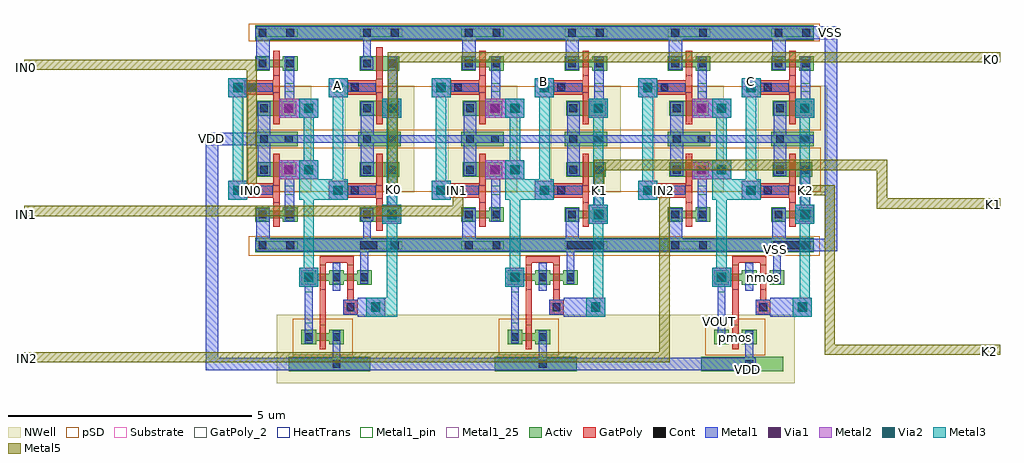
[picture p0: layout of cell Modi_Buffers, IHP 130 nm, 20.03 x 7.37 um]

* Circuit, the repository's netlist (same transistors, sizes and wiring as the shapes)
** sch_path: /home/designer/shared/Training/GROTDC/GROTDC_marzo/GRO-TDC/Modi_Buffers.sch
.subckt Modi_Buffers K0 IN0 VDD IN1 VSS K1 K2 IN2
*.PININFO IN0:I IN1:I IN2:I K0:O K1:O K2:O VDD:B VSS:B
x1[1] VDD net1 IN0 VSS INV_D1
x1[0] VDD net1 IN0 VSS INV_D1
x2[1] VDD K0 net1 VSS INV_D2
x2[0] VDD K0 net1 VSS INV_D2
x3 VDD net1 K0 VSS INV05
x3[1] VDD net2 IN1 VSS INV_D1
x3[0] VDD net2 IN1 VSS INV_D1
x4[1] VDD net3 IN2 VSS INV_D1
x4[0] VDD net3 IN2 VSS INV_D1
x5[1] VDD K1 net2 VSS INV_D1
x5[0] VDD K1 net2 VSS INV_D1
x6[1] VDD K2 net3 VSS INV_D1
x6[0] VDD K2 net3 VSS INV_D1
x1 VDD net2 K1 VSS INV05
x2 VDD net3 K2 VSS INV05
.ends

* expanding   symbol:  /home/designer/shared/Training/GROTDC/GROTDC_marzo/GRO-TDC/std_cells/INV_D1.sym # of pins=4
** sym_path: /home/designer/shared/Training/GROTDC/GROTDC_marzo/GRO-TDC/std_cells/INV_D1.sym
** sch_path: /home/designer/shared/Training/GROTDC/GROTDC_marzo/GRO-TDC/std_cells/INV_D1.sch
.subckt INV_D1 VDD VOUT VIN VSS
*.PININFO VDD:B VSS:B VOUT:O VIN:I
M2 VOUT VIN VDD VDD sg13_lv_pmos w=0.3u l=0.13u ng=1 m=1
M1 VOUT VIN VSS VSS sg13_lv_nmos w=0.15u l=0.13u ng=1 m=1
.ends


* expanding   symbol:  /home/designer/shared/Training/GROTDC/GROTDC_marzo/GRO-TDC/std_cells/INV_D2.sym # of pins=4
** sym_path: /home/designer/shared/Training/GROTDC/GROTDC_marzo/GRO-TDC/std_cells/INV_D2.sym
** sch_path: /home/designer/shared/Training/GROTDC/GROTDC_marzo/GRO-TDC/std_cells/INV_D2.sch
.subckt INV_D2 VDD VOUT VIN VSS
*.PININFO VDD:B VSS:B VOUT:O VIN:I
M1 VOUT VIN VSS VSS sg13_lv_nmos w=0.3u l=0.13u ng=1 m=1
M2 VOUT VIN VDD VDD sg13_lv_pmos w=0.3u l=0.13u ng=1 m=1
.ends


* expanding   symbol:  /home/designer/shared/Training/GROTDC/GROTDC_marzo/GRO-TDC/std_cells/INV05.sym # of pins=4
** sym_path: /home/designer/shared/Training/GROTDC/GROTDC_marzo/GRO-TDC/std_cells/INV05.sym
** sch_path: /home/designer/shared/Training/GROTDC/GROTDC_marzo/GRO-TDC/std_cells/INV05.sch
.subckt INV05 VDD VOUT VIN VSS
*.PININFO VDD:B VSS:B VOUT:O VIN:I
M1 net1 VIN VSS VSS sg13_lv_nmos w=0.15u l=0.13u ng=1 m=1
M3 VOUT VIN VDD VDD sg13_lv_pmos w=0.15u l=0.13u ng=1 m=1
M2 VOUT VIN net1 VSS sg13_lv_nmos w=0.15u l=0.13u ng=1 m=1
.ends

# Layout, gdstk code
from math import pi, radians
import gdstk
lib = gdstk.Library(unit=1e-6, precision=5e-09)
def R(c, l, rs):  # rectangles x0, y0, x1, y1
    for r in rs: c.add(gdstk.rectangle(r[:2], r[2:], *l))
def A(c, l, x, y, w, h, nx, ny, dx, dy):  # array of equal rectangles
    R(c, l, [(x+i*dx, y+j*dy, x+i*dx+w, y+j*dy+h) for i in range(nx) for j in range(ny)])
Activ = (1, 0)
GatPoly = (5, 0)
GatPoly_2 = (5, 2)
Cont = (6, 0)
Metal1 = (8, 0)
Metal1_pin = (8, 2)
Metal1_25 = (8, 25)
Metal2 = (10, 0)
pSD = (14, 0)
Via1 = (19, 0)
Via2 = (29, 0)
Metal3 = (30, 0)
NWell = (31, 0)
Substrate = (40, 0)
HeatTrans = (51, 0)
Metal5 = (67, 0)

via2_constraint = lib.new_cell('VIA2_constraint')
R(via2_constraint, Metal2, [(-0.095,-0.095,0.295,0.295)])
R(via2_constraint, Via2, [(0.005,0.005,0.195,0.195)])
R(via2_constraint, Metal3, [(-0.095,-0.095,0.295,0.295)])

via1_constraint = lib.new_cell('VIA1_constraint')
R(via1_constraint, Metal1, [(0,0,0.39,0.39)])
R(via1_constraint, Metal2, [(0,0,0.39,0.39)])
R(via1_constraint, Via1, [(0.1,0.1,0.29,0.29)])

pmos_1 = lib.new_cell('pmos$1')
R(pmos_1, Activ, [(0,0,0.3,0.3), (0,0,0.81,0.3), (0.51,0,0.81,0.3)])
R(pmos_1, GatPoly, [(0.34,-0.18,0.47,0.48), (0.34,-0.18,0.47,0.48)])
R(pmos_1, Cont, [(0.07,0.07,0.23,0.23), (0.58,0.07,0.74,0.23)])
R(pmos_1, Metal1, [(0.58,0,0.74,0.3), (0.58,0,0.74,0.3), (0.02,0.02,0.28,0.3), (0.07,0.07,0.23,0.3)])
R(pmos_1, pSD, [(-0.18,-0.3,0.99,0.6)])
R(pmos_1, NWell, [(-0.31,-0.31,1.12,0.61)])
R(pmos_1, Substrate, [(0.51,0,0.81,0.3)])
R(pmos_1, HeatTrans, [(0.34,-0.18,0.47,0.48)])
pmos_1.add(gdstk.Label('pmos', (0.405,0.15), layer=63, texttype=0))
pmos_1.add(gdstk.Label('pmos', (0.405,0.15), layer=51, texttype=0))

nmos_1 = lib.new_cell('nmos$1')
R(nmos_1, Activ, [(0,0,0.3,0.3), (0.57,0,0.87,0.3), (0,0.075,0.87,0.225)])
R(nmos_1, GatPoly, [(0.37,-0.105,0.5,0.405)])
R(nmos_1, GatPoly_2, [(0.37,-0.105,0.5,0.405)])
R(nmos_1, Cont, [(0.07,0.07,0.23,0.23), (0.64,0.07,0.8,0.23)])
R(nmos_1, Metal1, [(0.07,0.02,0.23,0.225), (0.64,0.02,0.8,0.28)])
R(nmos_1, Metal1_pin, [(0.07,0.02,0.23,0.23), (0.64,0.02,0.8,0.28)])
R(nmos_1, HeatTrans, [(0.37,-0.105,0.5,0.405)])
nmos_1.add(gdstk.Label('nmos', (0.435,0.15), layer=63, texttype=0))
nmos_1.add(gdstk.Label('nmos', (0.435,0.15), layer=51, texttype=0))

inv_d1 = lib.new_cell('INV_D1')
R(inv_d1, Activ, [(0.28,-0.045,1.15,0.255), (0.28,2.135,1.15,2.435)])
R(inv_d1, GatPoly, [(0.06,1.08,0.65,1.38), (0.65,1.11,0.78,1.325)])
R(inv_d1, GatPoly_2, [(0.06,1.08,0.65,1.38)])
R(inv_d1, Cont, [(0.35,0.025,0.51,0.185), (0.92,0.025,1.08,0.185), (0.13,1.15,0.29,1.31), (0.38,2.205,0.54,2.365), (0.89,2.205,1.05,2.365)])
R(inv_d1, Metal1, [(0.3,-0.025,0.575,0.025), (0.28,0.025,1.15,0.185), (0.3,0.025,0.575,0.865), (0.07,1.14,0.64,1.32), (0.33,1.575,0.59,2.365), (0.28,2.205,1.15,2.365), (0.33,2.365,0.59,2.415)])
R(inv_d1, Metal1_pin, [(0.28,0.025,1.15,0.185), (0.07,1.14,0.64,1.32), (0.89,1.14,1.08,1.32), (0.28,2.205,1.15,2.365)])
R(inv_d1, pSD, [(0.15,-0.075,1.28,0.285)])
R(inv_d1, NWell, [(0,2.115,1.43,2.675)])
R(inv_d1, Substrate, [(0.82,1.505,1.12,1.805)])
inv_d1.add(gdstk.FlexPath([(0.985,0.585),(0.985,1.805)], 0.19, ends="flush", simple_path=True, layer=8, datatype=0))  # Metal1
inv_d1.add(gdstk.FlexPath([(0.715,1.11),(0.715,0.99)], 0.13, ends="flush", simple_path=True, layer=5, datatype=0))  # GatPoly
inv_d1.add(gdstk.Reference(pmos_1, (0.31,1.505)))
inv_d1.add(gdstk.Reference(nmos_1, (0.28,0.585)))
inv_d1.add(gdstk.Label('nmos', (0.715,0.655), layer=63, texttype=0))
inv_d1.add(gdstk.Label('VSS', (0.65,0.1), layer=8, texttype=25))
inv_d1.add(gdstk.Label('VIN', (0.285,1.175), layer=8, texttype=25))
inv_d1.add(gdstk.Label('VOUT', (1.03,1.165), layer=8, texttype=25))
inv_d1.add(gdstk.Label('VDD', (0.655,2.28), layer=8, texttype=25))

pmos = lib.new_cell('pmos')
R(pmos, Activ, [(0,0,0.3,0.3), (0.57,0,0.87,0.3), (0,0.075,0.87,0.225)])
R(pmos, GatPoly, [(0.37,-0.105,0.5,0.405), (0.37,-0.105,0.5,0.405)])
R(pmos, Cont, [(0.07,0.07,0.23,0.23), (0.64,0.07,0.8,0.23)])
R(pmos, Metal1, [(0.07,0.02,0.23,0.28), (0.07,0.02,0.23,0.28), (0.64,0.02,0.8,0.28), (0.64,0.02,0.8,0.28)])
R(pmos, pSD, [(-0.18,-0.225,1.05,0.525)])
R(pmos, NWell, [(-0.31,-0.31,1.18,0.61)])
R(pmos, Substrate, [(0.57,0,0.87,0.3)])
R(pmos, HeatTrans, [(0.37,-0.105,0.5,0.405)])
pmos.add(gdstk.Label('pmos', (0.435,0.15), layer=63, texttype=0))
pmos.add(gdstk.Label('pmos', (0.435,0.15), layer=51, texttype=0))

nmos = lib.new_cell('nmos')
R(nmos, Activ, [(0,0,0.3,0.3), (0.57,0,0.87,0.3), (0,0.075,0.87,0.225)])
R(nmos, GatPoly, [(0.37,-0.105,0.5,0.405)])
R(nmos, GatPoly_2, [(0.37,-0.105,0.5,0.405)])
R(nmos, Cont, [(0.07,0.07,0.23,0.23), (0.64,0.07,0.8,0.23)])
R(nmos, Metal1, [(0.07,0.02,0.23,0.28), (0.64,0.02,0.8,0.28)])
R(nmos, Metal1_pin, [(0.07,0.02,0.23,0.28), (0.64,0.02,0.8,0.28)])
R(nmos, HeatTrans, [(0.37,-0.105,0.5,0.405)])
nmos.add(gdstk.Label('nmos', (0.435,0.15), layer=63, texttype=0))
nmos.add(gdstk.Label('nmos', (0.435,0.15), layer=51, texttype=0))

inv05 = lib.new_cell('INV05')
R(inv05, Activ, [(-0.47,-1.89,1.21,-1.59), (-0.435,0.55,1.245,0.85)])
R(inv05, GatPoly, [(-0.175,-0.615,0.125,-0.315)])
R(inv05, GatPoly_2, [(-0.09,-0.945,0.04,-0.825)])
R(inv05, Cont, [(-0.39,-1.82,-0.23,-1.66), (-0.105,-0.545,0.055,-0.385), (0.18,0.62,0.34,0.78)])
R(inv05, Metal1, [(-0.44,-1.87,-0.18,-1.61), (0.18,-1.375,0.34,-0.805), (-0.175,-0.615,0.125,-0.315), (0.13,0.57,0.39,0.83)])
R(inv05, Metal1_pin, [(-0.39,-1.82,-0.23,-1.66), (0.75,-0.78,0.91,-0.14), (0.18,0.62,0.34,0.78)])
R(inv05, pSD, [(-0.53,-1.92,1.285,-1.52)])
R(inv05, NWell, [(-0.675,-0.315,-0.2,0.61), (1.29,-0.315,1.485,0.61), (-0.675,0.605,1.485,1.09)])
inv05.add(gdstk.FlexPath([(0.83,-0.95),(0.83,0.015)], 0.16, ends="flush", simple_path=True, layer=8, datatype=0))  # Metal1
inv05.add(gdstk.FlexPath([(-0.31,-1.82),(-0.31,-1.21)], 0.16, ends="flush", simple_path=True, layer=8, datatype=0))  # Metal1
inv05.add(gdstk.FlexPath([(0.26,0.275),(0.26,0.78)], 0.16, ends="flush", simple_path=True, layer=8, datatype=0))  # Metal1
inv05.add(gdstk.FlexPath([(-0.025,-1.335),(-0.025,-1.445),(0.545,-1.445),(0.545,-1.335)], 0.13, ends="flush", simple_path=True, layer=5, datatype=0))  # GatPoly
inv05.add(gdstk.FlexPath([(0.545,-0.825),(0.545,-0.11)], 0.13, ends="flush", simple_path=True, layer=5, datatype=0))  # GatPoly
inv05.add(gdstk.FlexPath([(-0.025,-0.825),(-0.025,-0.465)], 0.13, ends="flush", simple_path=True, layer=5, datatype=0))  # GatPoly
inv05.add(gdstk.Reference(pmos, (0.11,-0.005)))
inv05.add(gdstk.Reference(nmos, (-0.46,-1.23)))
inv05.add(gdstk.Reference(nmos, (0.11,-1.23)))
inv05.add(gdstk.Label('VDD', (0.29,0.82), layer=8, texttype=2))
inv05.add(gdstk.Label('VSS', (-0.275,-1.645), layer=8, texttype=2))
inv05.add(gdstk.Label('VOUT', (0.88,-0.17), layer=8, texttype=2))
inv05.add(gdstk.Label('VIN', (0,-0.85), layer=5, texttype=2))

pmos_2 = lib.new_cell('pmos$2')
R(pmos_2, Activ, [(0,0,0.3,0.3), (0,0,0.81,0.3), (0.51,0,0.81,0.3)])
R(pmos_2, GatPoly, [(0.34,-0.18,0.47,0.48), (0.34,-0.18,0.47,0.48)])
R(pmos_2, Cont, [(0.07,0.07,0.23,0.23), (0.58,0.07,0.74,0.23)])
R(pmos_2, Metal1, [(0.58,0,0.74,0.3), (0.58,0,0.74,0.3)])
R(pmos_2, pSD, [(-0.18,-0.3,0.99,0.6)])
R(pmos_2, NWell, [(-0.31,-0.31,1.12,0.61)])
R(pmos_2, Substrate, [(0.51,0,0.81,0.3)])
R(pmos_2, HeatTrans, [(0.34,-0.18,0.47,0.48)])
pmos_2.add(gdstk.Label('pmos', (0.405,0.15), layer=63, texttype=0))
pmos_2.add(gdstk.Label('pmos', (0.405,0.15), layer=51, texttype=0))

nmos_2 = lib.new_cell('nmos$2')
R(nmos_2, Activ, [(0,0,0.3,0.3), (0,0,0.81,0.3), (0.51,0,0.81,0.3)])
R(nmos_2, GatPoly, [(0.34,-0.18,0.47,0.48)])
R(nmos_2, GatPoly_2, [(0.34,-0.18,0.47,0.48)])
R(nmos_2, Cont, [(0.07,0.07,0.23,0.23), (0.58,0.07,0.74,0.23)])
R(nmos_2, Metal1, [(0.58,0,0.74,0.3)])
R(nmos_2, Metal1_pin, [(0.58,0,0.74,0.3)])
R(nmos_2, HeatTrans, [(0.34,-0.18,0.47,0.48)])
nmos_2.add(gdstk.Label('nmos', (0.405,0.15), layer=63, texttype=0))
nmos_2.add(gdstk.Label('nmos', (0.405,0.15), layer=51, texttype=0))

inv_d1_1 = lib.new_cell('INV_D1$1')
R(inv_d1_1, Activ, [(0.31,-0.045,1.18,0.255), (0.28,2.135,1.15,2.435)])
R(inv_d1_1, GatPoly, [(0.06,1.08,0.65,1.38), (0.65,1.11,0.78,1.325)])
R(inv_d1_1, GatPoly_2, [(0.06,1.08,0.65,1.38)])
R(inv_d1_1, Cont, [(0.38,0.025,0.54,0.185), (0.95,0.025,1.11,0.185), (0.13,1.15,0.29,1.31), (0.38,2.205,0.54,2.365), (0.89,2.205,1.05,2.365)])
R(inv_d1_1, Metal1, [(0.31,0.025,1.18,0.185), (0.07,1.14,0.64,1.32), (0.28,2.205,1.15,2.365)])
R(inv_d1_1, Metal1_pin, [(0.31,0.025,1.18,0.185), (0.07,1.14,0.64,1.32), (0.89,1.14,1.08,1.32), (0.28,2.205,1.15,2.365)])
R(inv_d1_1, pSD, [(0.18,-0.075,1.31,0.285)])
R(inv_d1_1, NWell, [(0,2.115,1.43,2.675)])
R(inv_d1_1, Substrate, [(0.82,1.505,1.12,1.805)])
inv_d1_1.add(gdstk.FlexPath([(0.985,0.585),(0.985,1.805)], 0.19, ends="flush", simple_path=True, layer=8, datatype=0))  # Metal1
inv_d1_1.add(gdstk.FlexPath([(0.715,1.11),(0.715,0.99)], 0.13, ends="flush", simple_path=True, layer=5, datatype=0))  # GatPoly
inv_d1_1.add(gdstk.Reference(pmos_2, (0.31,1.505)))
inv_d1_1.add(gdstk.Reference(nmos_2, (0.31,0.585)))
inv_d1_1.add(gdstk.Label('nmos', (0.745,0.655), layer=63, texttype=0))
inv_d1_1.add(gdstk.Label('VSS', (0.68,0.1), layer=8, texttype=25))
inv_d1_1.add(gdstk.Label('VIN', (0.285,1.175), layer=8, texttype=25))
inv_d1_1.add(gdstk.Label('VOUT', (1.03,1.165), layer=8, texttype=25))
inv_d1_1.add(gdstk.Label('VDD', (0.655,2.28), layer=8, texttype=25))

inv_d2 = lib.new_cell('INV_D2')
R(inv_d2, Metal1, [(10.185,-0.74,10.345,0.05), (10.135,-0.16,10.395,0.1), (10.135,0.76,10.4,1.6)])
inv_d2.add(gdstk.Reference(inv_d1_1, (9.805,-0.765)))

modi_buffers_placement = lib.new_cell('Modi_Buffers_placement')
R(modi_buffers_placement, Activ, [(0.28,-2.2,11.74,-1.9), (0.28,2.16,9.62,2.46)])
R(modi_buffers_placement, Metal1, [(0.35,-2.13,2.165,-1.97)])
R(modi_buffers_placement, pSD, [(0.15,-2.23,11.87,-1.87), (0.13,-0.95,11.89,-0.05), (0.13,0.31,11.89,1.21), (0.15,2.13,8.43,2.49)])
modi_buffers_placement.add(gdstk.Reference(inv_d1, (0,2.415), x_reflection=True))
modi_buffers_placement.add(gdstk.Reference(inv_d1, (0,-2.155)))
r = gdstk.Reference(inv05, (6.44,-3.79), rotation=pi); r.repetition = gdstk.Repetition(2, 1, v1=(-4.23,0), v2=(0,0)); modi_buffers_placement.add(r)
r = gdstk.Reference(inv_d1, (4.23,-2.155)); r.repetition = gdstk.Repetition(4, 1, v1=(2.12,0), v2=(0,0)); modi_buffers_placement.add(r)
r = gdstk.Reference(inv_d1, (4.23,2.415), x_reflection=True); r.repetition = gdstk.Repetition(4, 1, v1=(2.12,0), v2=(0,0)); modi_buffers_placement.add(r)
modi_buffers_placement.add(gdstk.Reference(inv_d2, (-7.69,-1.39)))
modi_buffers_placement.add(gdstk.Reference(inv_d2, (-7.69,1.65), x_reflection=True))

modi_buffers = lib.new_cell('Modi_Buffers')
R(modi_buffers, Activ, [(18.9,-0.3,20.58,0), (19.165,0.255,19.465,0.555), (19.735,0.255,20.035,0.555), (19.165,0.33,20.035,0.48), (19.165,1.48,19.465,1.78), (19.735,1.48,20.035,1.78), (19.735,1.48,20.035,1.78), (20.305,1.48,20.605,1.78), (19.165,1.555,20.035,1.705), (19.735,1.555,20.605,1.705), (18.935,2.14,20.615,2.44), (19.085,6.5,20.335,6.8)])
R(modi_buffers, GatPoly, [(19.535,0.15,19.665,0.66), (19.535,0.15,19.665,0.66), (20.02,0.865,20.32,1.165), (19.535,1.375,19.665,1.885), (20.105,1.375,20.235,1.885)])
R(modi_buffers, GatPoly_2, [(19.535,1.375,19.665,1.885), (20.105,1.375,20.235,1.885), (20.105,1.375,20.235,1.495)])
R(modi_buffers, Cont, [(19.805,-0.23,19.965,-0.07), (19.235,0.325,19.395,0.485), (19.805,0.325,19.965,0.485), (20.09,0.935,20.25,1.095), (19.235,1.55,19.395,1.71), (19.805,1.55,19.965,1.71), (19.805,1.55,19.965,1.71), (20.375,1.55,20.535,1.71), (11.905,2.21,12.245,2.37), (16.165,2.21,16.895,2.37), (20.375,2.21,20.715,2.37), (20.375,2.21,20.535,2.37), (20.405,2.21,21.135,2.37)])
R(modi_buffers, Metal1, [(8.725,-0.28,8.985,4.6), (8.725,-0.28,11.545,-0.025), (11.285,-0.28,20.015,-0.02), (19.755,-0.28,20.015,-0.02), (19.235,0.275,19.395,0.535), (19.235,0.275,19.395,0.535), (19.805,0.275,19.965,0.535), (19.805,0.275,19.965,0.535), (11.85,0.825,12.025,1.215), (16.08,0.825,16.365,1.215), (16.365,0.825,16.54,1.215), (20.32,0.825,20.605,1.215), (20.605,0.825,20.78,1.215), (20.02,0.865,20.32,1.165), (11.62,0.925,12.315,1.115), (16.135,0.925,16.83,1.115), (20.375,0.925,21.07,1.115), (19.805,1.355,19.965,1.925), (19.235,1.5,19.395,1.76), (19.805,1.5,19.965,1.76), (19.805,1.5,19.965,1.76), (20.375,1.5,20.535,1.76), (9.815,2.16,21.205,2.42), (11.905,2.16,12.245,2.42), (20.325,2.16,20.585,2.42), (20.325,2.16,21.69,2.42), (21.43,2.16,21.69,6.78), (9.28,3.325,9.755,3.505), (11.35,3.325,11.87,3.51), (13.45,3.325,13.925,3.505), (15.585,3.325,16.105,3.51), (17.69,3.325,18.165,3.505), (19.825,3.325,20.345,3.51), (10.24,3.645,11.04,4.035), (14.47,3.645,15.27,4.035), (18.71,3.645,19.51,4.035), (8.725,4.34,10.055,4.6), (9.745,4.39,21.205,4.55), (10.24,4.905,11.04,5.295), (14.47,4.905,15.27,5.295), (18.71,4.905,19.51,5.295), (9.28,5.435,9.755,5.615), (11.35,5.435,11.87,5.62), (13.45,5.435,13.925,5.615), (15.585,5.435,16.105,5.62), (17.69,5.435,18.165,5.615), (19.825,5.435,20.345,5.62), (9.765,6.52,21.135,6.78), (21.135,6.52,21.69,6.78)])
R(modi_buffers, Metal1_pin, [(19.805,-0.23,19.965,-0.07), (19.235,0.69,19.395,1.33), (19.235,1.5,19.395,1.76), (19.805,1.5,19.965,1.76), (19.805,1.5,19.965,1.76), (20.375,1.5,20.535,1.76), (20.375,2.21,20.535,2.37), (12.47,3.325,12.66,3.505), (16.705,3.325,16.895,3.505), (20.945,3.325,21.135,3.505), (9.595,3.335,9.755,3.495), (13.825,3.335,13.985,3.495), (18.065,3.335,18.225,3.495), (8.725,4.34,8.985,4.6), (21.43,6.52,21.69,6.78)])
R(modi_buffers, Metal1_25, [(12.47,3.325,12.66,3.505), (16.705,3.325,16.895,3.505), (20.945,3.325,21.135,3.505), (9.595,3.335,9.755,3.495), (13.825,3.335,13.985,3.495), (18.065,3.335,18.225,3.495), (8.725,4.34,8.985,4.6), (21.43,6.52,21.69,6.78)])
R(modi_buffers, Metal2, [(10.24,3.645,11.04,4.035), (14.47,3.645,15.27,4.035), (18.71,3.645,19.51,4.035), (10.24,4.905,11.04,5.295), (14.47,4.905,15.27,5.295), (18.71,4.905,19.51,5.295)])
R(modi_buffers, pSD, [(18.985,0.03,20.215,0.78), (9.615,2.07,10.39,2.11), (10.39,2.07,21.335,2.11), (18.86,2.07,20.675,2.47), (17.895,6.47,18.085,6.83), (19.215,6.47,20.205,6.83)])
A(modi_buffers, Metal3, 13.45, 3.32, 0.22, 2.3, 4, 1, 2.12, 0)
R(modi_buffers, Metal3, [(12.025,0.825,12.655,1.215), (16.54,0.825,16.93,1.215), (20.78,0.825,21.17,1.215), (12.445,0.925,12.655,3.015), (16.68,0.925,16.89,3.015), (20.92,0.925,21.13,3.015), (10.74,1.535,10.95,3.9), (14.97,1.535,15.18,3.9), (19.21,1.535,19.42,3.9), (12.445,2.825,12.655,5.195), (16.68,2.825,16.89,5.195), (20.92,2.825,21.13,5.195), (10.65,3.22,11.64,3.645), (14.88,3.22,15.875,3.645), (19.12,3.22,20.115,3.645), (9.28,3.32,9.5,5.62), (11.335,3.32,11.555,5.62), (10.74,3.745,10.95,5.195), (14.97,3.745,15.18,5.195), (19.21,3.745,19.42,5.195)])
R(modi_buffers, NWell, [(10.19,-0.54,20.82,0.865), (18.66,-0.54,20.82,-0.055), (18.66,-0.06,18.855,0.865), (20.345,-0.06,20.82,0.865), (18.855,-0.055,20.345,0.865)])
R(modi_buffers, Substrate, [(19.165,0.255,19.465,0.555)])
R(modi_buffers, HeatTrans, [(19.535,0.15,19.665,0.66), (19.535,1.375,19.665,1.885), (20.105,1.375,20.235,1.885)])
modi_buffers.add(gdstk.FlexPath([(19.315,1.5),(19.315,0.535)], 0.16, ends="flush", simple_path=True, layer=8, datatype=0))  # Metal1
modi_buffers.add(gdstk.FlexPath([(20.455,2.37),(20.455,1.76)], 0.16, ends="flush", simple_path=True, layer=8, datatype=0))  # Metal1
modi_buffers.add(gdstk.FlexPath([(19.885,0.275),(19.885,-0.23)], 0.16, ends="flush", simple_path=True, layer=8, datatype=0))  # Metal1
modi_buffers.add(gdstk.FlexPath([(20.17,1.885),(20.17,1.995),(19.6,1.995),(19.6,1.885)], 0.13, ends="flush", simple_path=True, layer=5, datatype=0))  # GatPoly
modi_buffers.add(gdstk.FlexPath([(19.6,1.375),(19.6,0.66)], 0.13, ends="flush", simple_path=True, layer=5, datatype=0))  # GatPoly
modi_buffers.add(gdstk.FlexPath([(20.17,1.375),(20.17,1.015)], 0.13, ends="flush", simple_path=True, layer=5, datatype=0))  # GatPoly
modi_buffers.add(gdstk.FlexPath([(22.505,0.145),(25.03,0.145)], 0.21, ends="flush", simple_path=True, layer=67, datatype=0))  # Metal5
modi_buffers.add(gdstk.FlexPath([(22.505,3.145),(25.03,3.145)], 0.21, ends="flush", simple_path=True, layer=67, datatype=0))  # Metal5
modi_buffers.add(gdstk.FlexPath([(22.505,6.145),(25.03,6.145)], 0.21, ends="flush", simple_path=True, layer=67, datatype=0))  # Metal5
modi_buffers.add(gdstk.FlexPath([(20.945,3.415),(21.535,3.415),(21.535,0.145),(22.66,0.145)], 0.21, ends="flush", simple_path=True, layer=67, datatype=0))  # Metal5
modi_buffers.add(gdstk.FlexPath([(16.8,3.325),(16.8,3.935),(22.61,3.935),(22.61,3.04)], 0.21, ends="flush", simple_path=True, layer=67, datatype=0))  # Metal5
modi_buffers.add(gdstk.FlexPath([(12.565,3.325),(12.565,6.145),(23.735,6.145)], 0.21, ends="flush", simple_path=True, layer=67, datatype=0))  # Metal5
modi_buffers.add(gdstk.FlexPath([(5,-0.01),(8,-0.01)], 0.21, ends="flush", simple_path=True, layer=67, datatype=0))  # Metal5
modi_buffers.add(gdstk.FlexPath([(5,2.99),(8,2.99)], 0.21, ends="flush", simple_path=True, layer=67, datatype=0))  # Metal5
modi_buffers.add(gdstk.FlexPath([(5,5.99),(8,5.99)], 0.21, ends="flush", simple_path=True, layer=67, datatype=0))  # Metal5
modi_buffers.add(gdstk.FlexPath([(18.145,3.495),(18.145,-0.01),(7.975,-0.01)], 0.21, ends="flush", simple_path=True, layer=67, datatype=0))  # Metal5
modi_buffers.add(gdstk.FlexPath([(13.905,3.495),(13.905,2.99),(6.82,2.99)], 0.21, ends="flush", simple_path=True, layer=67, datatype=0))  # Metal5
modi_buffers.add(gdstk.FlexPath([(9.675,3.335),(9.675,5.99),(7.915,5.99)], 0.21, ends="flush", simple_path=True, layer=67, datatype=0))  # Metal5
modi_buffers.add(gdstk.Reference(via2_constraint, (10.745,5)))
modi_buffers.add(gdstk.Reference(via2_constraint, (9.29,3.315)))
modi_buffers.add(gdstk.Reference(via2_constraint, (10.745,3.74)))
modi_buffers.add(gdstk.Reference(via1_constraint, (10.24,4.905)))
modi_buffers.add(gdstk.Reference(via1_constraint, (10.24,3.645)))
modi_buffers.add(gdstk.Reference(via1_constraint, (10.65,4.905)))
modi_buffers.add(gdstk.Reference(via1_constraint, (10.65,3.645)))
modi_buffers.add(gdstk.Reference(via2_constraint, (10.745,1.53)))
modi_buffers.add(gdstk.Reference(via1_constraint, (10.65,1.435)))
modi_buffers.add(gdstk.Reference(modi_buffers_placement, (9.465,4.34)))
modi_buffers.add(gdstk.Reference(via2_constraint, (12.45,5)))
modi_buffers.add(gdstk.Reference(via1_constraint, (12.355,4.905)))
modi_buffers.add(gdstk.Reference(via1_constraint, (12.355,2.725)))
modi_buffers.add(gdstk.Reference(via2_constraint, (12.45,2.82)))
modi_buffers.add(gdstk.Reference(via2_constraint, (12.12,0.92)))
modi_buffers.add(gdstk.Reference(via1_constraint, (12.025,0.825)))
modi_buffers.add(gdstk.Reference(via2_constraint, (9.29,5.425)))
modi_buffers.add(gdstk.Reference(via1_constraint, (9.195,5.33)))
modi_buffers.add(gdstk.Reference(via1_constraint, (9.195,3.22)))
modi_buffers.add(gdstk.Reference(via2_constraint, (16.685,5)))
modi_buffers.add(gdstk.Reference(via1_constraint, (16.59,4.905)))
modi_buffers.add(gdstk.Reference(via1_constraint, (16.59,2.725)))
modi_buffers.add(gdstk.Reference(via2_constraint, (16.685,2.82)))
modi_buffers.add(gdstk.Reference(via2_constraint, (16.635,0.92)))
modi_buffers.add(gdstk.Reference(via1_constraint, (16.54,0.825)))
modi_buffers.add(gdstk.Reference(via1_constraint, (13.365,3.22)))
modi_buffers.add(gdstk.Reference(via1_constraint, (13.365,5.33)))
modi_buffers.add(gdstk.Reference(via2_constraint, (13.46,5.425)))
modi_buffers.add(gdstk.Reference(via1_constraint, (14.88,1.435)))
modi_buffers.add(gdstk.Reference(via2_constraint, (14.975,1.53)))
modi_buffers.add(gdstk.Reference(via1_constraint, (14.88,3.645)))
modi_buffers.add(gdstk.Reference(via1_constraint, (14.88,4.905)))
modi_buffers.add(gdstk.Reference(via1_constraint, (14.47,3.645)))
modi_buffers.add(gdstk.Reference(via1_constraint, (14.47,4.905)))
modi_buffers.add(gdstk.Reference(via2_constraint, (14.975,3.74)))
modi_buffers.add(gdstk.Reference(via2_constraint, (13.46,3.315)))
modi_buffers.add(gdstk.Reference(via2_constraint, (14.975,5)))
modi_buffers.add(gdstk.Reference(via1_constraint, (11.25,5.33)))
modi_buffers.add(gdstk.Reference(via2_constraint, (11.345,5.425)))
modi_buffers.add(gdstk.Reference(via1_constraint, (11.25,3.22)))
modi_buffers.add(gdstk.Reference(via2_constraint, (11.345,3.315)))
modi_buffers.add(gdstk.Reference(via1_constraint, (15.485,5.33)))
modi_buffers.add(gdstk.Reference(via2_constraint, (15.58,5.425)))
modi_buffers.add(gdstk.Reference(via1_constraint, (15.485,3.22)))
modi_buffers.add(gdstk.Reference(via2_constraint, (15.58,3.315)))
modi_buffers.add(gdstk.Reference(via2_constraint, (20.925,5)))
modi_buffers.add(gdstk.Reference(via1_constraint, (20.83,4.905)))
modi_buffers.add(gdstk.Reference(via1_constraint, (20.83,2.725)))
modi_buffers.add(gdstk.Reference(via2_constraint, (20.925,2.82)))
modi_buffers.add(gdstk.Reference(via2_constraint, (20.875,0.92)))
modi_buffers.add(gdstk.Reference(via1_constraint, (20.78,0.825)))
modi_buffers.add(gdstk.Reference(via1_constraint, (17.605,3.22)))
modi_buffers.add(gdstk.Reference(via1_constraint, (17.605,5.33)))
modi_buffers.add(gdstk.Reference(via2_constraint, (17.7,5.425)))
modi_buffers.add(gdstk.Reference(via1_constraint, (19.12,1.435)))
modi_buffers.add(gdstk.Reference(via2_constraint, (19.215,1.53)))
modi_buffers.add(gdstk.Reference(via1_constraint, (19.12,3.645)))
modi_buffers.add(gdstk.Reference(via1_constraint, (19.12,4.905)))
modi_buffers.add(gdstk.Reference(via1_constraint, (18.71,3.645)))
modi_buffers.add(gdstk.Reference(via1_constraint, (18.71,4.905)))
modi_buffers.add(gdstk.Reference(via2_constraint, (19.215,3.74)))
modi_buffers.add(gdstk.Reference(via2_constraint, (17.7,3.315)))
modi_buffers.add(gdstk.Reference(via2_constraint, (19.215,5)))
modi_buffers.add(gdstk.Reference(via1_constraint, (19.725,5.33)))
modi_buffers.add(gdstk.Reference(via2_constraint, (19.82,5.425)))
modi_buffers.add(gdstk.Reference(via1_constraint, (19.725,3.22)))
modi_buffers.add(gdstk.Reference(via2_constraint, (19.82,3.315)))
modi_buffers.add(gdstk.Label('pmos', (19.6,0.405), layer=63, texttype=0))
modi_buffers.add(gdstk.Label('nmos', (20.17,1.63), layer=63, texttype=0))
modi_buffers.add(gdstk.Label('nmos', (19.6,1.63), layer=63, texttype=0))
modi_buffers.add(gdstk.Label('nmos', (20.17,1.63), layer=51, texttype=0))
modi_buffers.add(gdstk.Label('nmos', (19.6,1.63), layer=51, texttype=0))
modi_buffers.add(gdstk.Label('pmos', (19.6,0.405), layer=51, texttype=0))
modi_buffers.add(gdstk.Label('VDD', (19.855,-0.27), layer=8, texttype=2))
modi_buffers.add(gdstk.Label('VSS', (20.42,2.195), layer=8, texttype=2))
modi_buffers.add(gdstk.Label('VOUT', (19.265,0.72), layer=8, texttype=2))
modi_buffers.add(gdstk.Label('VIN', (20.145,1.4), layer=5, texttype=2))
modi_buffers.add(gdstk.Label('VDD', (8.855,4.47), layer=8, texttype=25))
modi_buffers.add(gdstk.Label('VSS', (21.56,6.65), layer=8, texttype=25))
modi_buffers.add(gdstk.Label('K0', (12.585,3.43), layer=8, texttype=25))
modi_buffers.add(gdstk.Label('K1', (16.815,3.415), layer=8, texttype=25))
modi_buffers.add(gdstk.Label('K2', (21.04,3.415), layer=8, texttype=25))
modi_buffers.add(gdstk.Label('IN0', (9.675,3.415), layer=8, texttype=25))
modi_buffers.add(gdstk.Label('IN1', (13.905,3.415), layer=8, texttype=25))
modi_buffers.add(gdstk.Label('IN2', (18.14,3.42), layer=8, texttype=25))
modi_buffers.add(gdstk.Label('K2', (24.81,0.105), layer=67, texttype=25))
modi_buffers.add(gdstk.Label('K1', (24.905,3.125), layer=67, texttype=25))
modi_buffers.add(gdstk.Label('K0', (24.85,6.11), layer=67, texttype=25))
modi_buffers.add(gdstk.Label('IN2', (5.065,-0.04), layer=67, texttype=25))
modi_buffers.add(gdstk.Label('IN1', (5.045,2.92), layer=67, texttype=25))
modi_buffers.add(gdstk.Label('IN0', (5.045,5.935), layer=67, texttype=25))
modi_buffers.add(gdstk.Label('A', (11.435,5.57), layer=30, texttype=25))
modi_buffers.add(gdstk.Label('B', (15.67,5.645), layer=30, texttype=25))
modi_buffers.add(gdstk.Label('C', (19.91,5.64), layer=30, texttype=25))

lib.write_gds('Modi_Buffers.gds')
